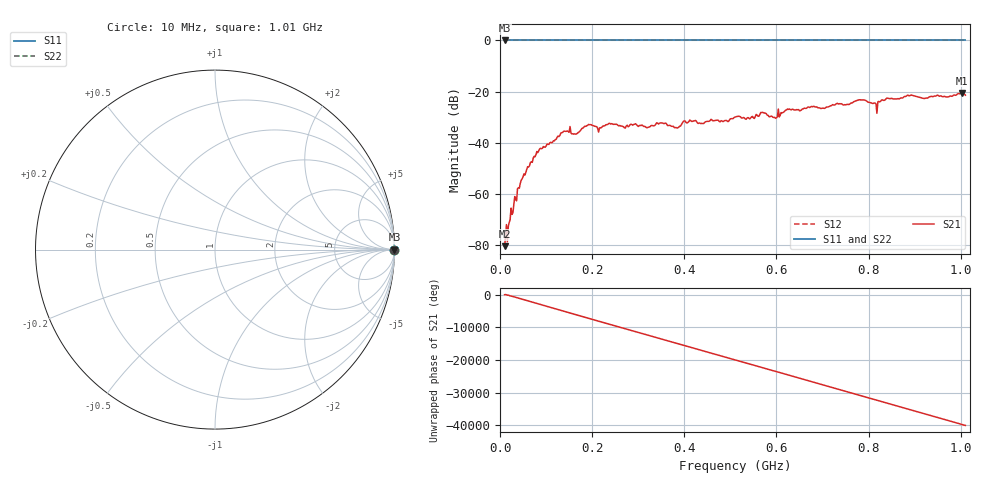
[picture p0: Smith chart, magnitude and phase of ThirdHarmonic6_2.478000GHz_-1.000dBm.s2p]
! 8/17/2025 4:36:26 AM
! C:\ANRITSUVNA\TEMP\TEMP.S2P
! CHANNEL.1
! TR.MEASUREMENT
! RAW.DATA
! RF.CORRECTION.OFF
! AVERAGING.OFF
! IF.BANDWIDTH: 5KHZ
! SWEEPTYPE:  FREQ.SWEEP(Linear)
! Reference Plane Port Info
! PORT:  PORT1  PORT2
! DISTANCE:  0  m  0  m
! TIME:  0  s  0  s
! PHASE.OFFSET:  0  deg.  0  deg.
! LOSS:  0  dB  0  dB
! REF.LOSS:  0  dB  0  dB
! REF.FREQ:  0  Hz  0  Hz
! Power Info
! POWER:  -20  dBm  -20  dBm
! EFF.POWER:  -20  dBm  -20  dBm
! SOURCE.ATTEN:  0  dB  0  dB
! TEST.ATTEN:  0  dB  0  dB
# GHZ S RI R 50.0
! FREQ.GHZ  S11RE  S11IM  S21RE  S21IM  S12RE  S12IM  S22RE  S22IM
!; PortSelection: Port_12
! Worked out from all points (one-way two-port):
!   501 points, 10 MHz to 1.01 GHz, reference 50 ohm
!   highest |S21| = -20.59 dB at 1.002 GHz (marker M1); lowest = -80.6 dB at 10 MHz (marker M2)
!   lowest |S11| = 0.0 dB at 10 MHz (marker M3)
!   |S11| at or under -10 dB: nowhere
!   |S22| runs from 0.0 to 0.0 dB; largest |S21 - S12| = 1.1
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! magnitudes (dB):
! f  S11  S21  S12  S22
! 10 MHz  0.0  -80.6  0.0  0.0
! 42 MHz  0.0  -57.9  0.0  0.0
! 76 MHz  0.0  -45.5  0.0  0.0
! 136 MHz  0.0  -36.0  0.0  0.0
! 164 MHz  0.0  -36.7  0.0  0.0
! 178 MHz  0.0  -34.4  0.0  0.0
! 194 MHz  0.0  -33.0  0.0  0.0
! 216 MHz  0.0  -34.2  0.0  0.0
! 240 MHz  0.0  -32.8  0.0  0.0
! 344 MHz  0.0  -32.7  0.0  0.0
! 384 MHz  0.0  -34.3  0.0  0.0
! 400 MHz  0.0  -31.5  0.0  0.0
! 510 MHz  0.0  -30.0  0.0  0.0
! 570 MHz  0.0  -28.2  0.0  0.0
! 598 MHz  0.0  -30.5  0.0  0.0
! 624 MHz  0.0  -26.8  0.0  0.0
! 678 MHz  0.0  -26.0  0.0  0.0
! 784 MHz  0.0  -23.3  0.0  0.0
! 814 MHz  0.0  -24.5  0.0  0.0
! 844 MHz  0.0  -22.8  0.0  0.0
! 1.002 GHz  0.0  -20.6  0.0  0.0
! 1.01 GHz  0.0  -21.4  0.0  0.0
